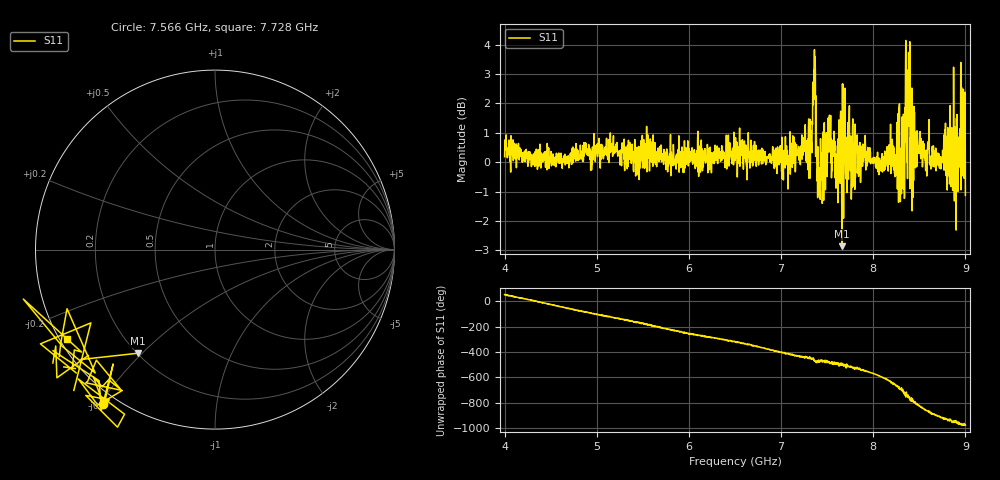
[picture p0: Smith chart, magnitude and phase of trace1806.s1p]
! Created with skrf 1.8.0 (http://scikit-rf.org).
# Hz S RI R 50.0
!freq ReS11 ImS11
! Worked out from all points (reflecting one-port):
!   1601 points, 4 GHz to 9 GHz, reference 50 ohm
!   lowest |S11| = -2.9 dB at 7.659 GHz (marker M1), VSWR 6.13, Z = 10.1 - j24.3 ohm
!   phase of S11 starts at 53 deg and turns -1028 deg over the sweep
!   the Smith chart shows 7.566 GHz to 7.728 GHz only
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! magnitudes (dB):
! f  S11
! 4 GHz  0.2
! 4.625 GHz  -0.2
! 5.25 GHz  0.4
! 5.875 GHz  0.0
! 6.5 GHz  0.0
! 7.125 GHz  0.4
! 7.309 GHz  0.8
! 7.359 GHz  3.0
! 7.375 GHz  0.2
! 7.4 GHz  0.5
! 7.428 GHz  0.8
! 7.512 GHz  1.5
! 7.6 GHz  -0.5
! 7.659 GHz  -2.9
! 7.75 GHz  0.7
! 8.075 GHz  0.0
! 8.259 GHz  0.9
! 8.316 GHz  -0.1
! 8.334 GHz  -0.8
! 8.347 GHz  0.7
! 8.375 GHz  1.3
! 8.425 GHz  -0.5
! 8.719 GHz  -0.2
! 8.859 GHz  0.9
! 8.903 GHz  1.5
! 8.953 GHz  -0.9
! 8.972 GHz  0.6
! 9 GHz  -1.1
